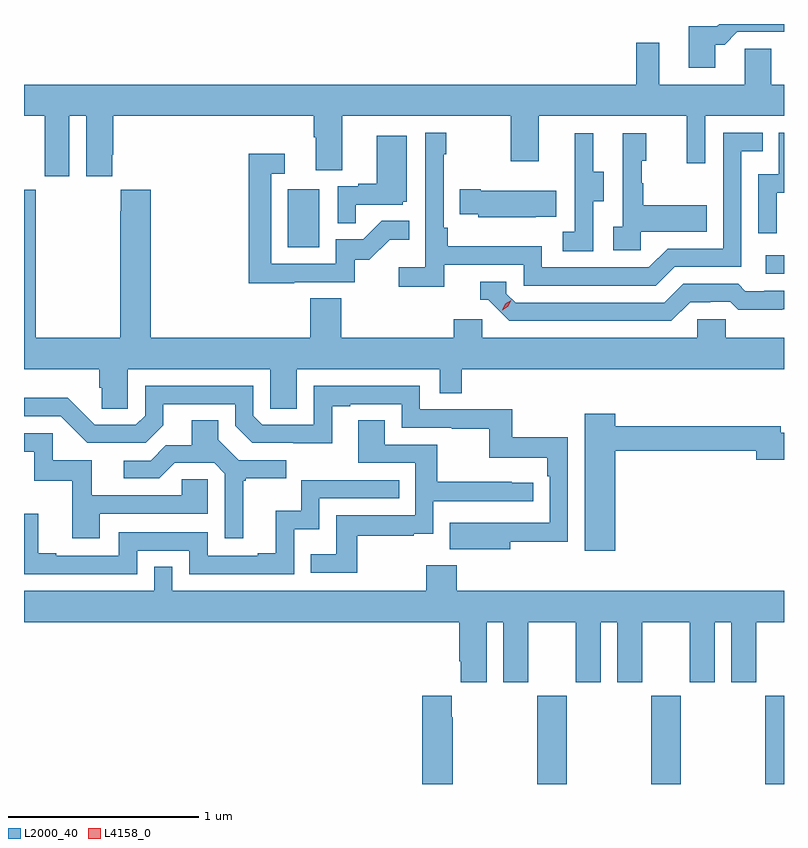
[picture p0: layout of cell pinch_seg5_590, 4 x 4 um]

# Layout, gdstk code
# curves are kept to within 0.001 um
import gdstk
lib = gdstk.Library(unit=1e-6, precision=1e-09)
def R(c, l, rs):  # rectangles x0, y0, x1, y1
    for r in rs: c.add(gdstk.rectangle(r[:2], r[2:], *l))
def P(c, l, *ps):  # polygons
    for p in ps: c.add(gdstk.Polygon(p, *l))
L2000_40 = (2000, 40)
L4158_0 = (4158, 0)

pinch_seg5_590 = lib.new_cell('pinch_seg5_590')
R(pinch_seg5_590, L2000_40, [(1119.457,861.236,1119.612,861.7), (1120.057,861.236,1120.212,861.7), (1120.657,861.236,1120.755,861.7), (1120.659,863.922,1120.755,864.018), (1118.144,864.06,1118.308,864.367)])
P(pinch_seg5_590, L2000_40, [(1120.393,865.127),(1120.442,865.127),(1120.509,865.194),(1120.755,865.194),(1120.755,865.236),(1120.413,865.236),(1120.402,865.225),(1120.253,865.225),(1120.253,865.005),(1120.393,865.005)],
  [(1116.994,864.752),(1117.082,864.752),(1117.082,864.435),(1117.219,864.435),(1117.219,864.547),(1117.226,864.547),(1117.226,864.752),(1118.279,864.752),(1118.279,864.64),(1118.291,864.64),(1118.291,864.466),(1118.431,864.466),(1118.431,864.752),(1119.316,864.752),(1119.316,864.513),(1119.463,864.513),(1119.463,864.752),(1120.244,864.752),(1120.244,864.504),(1120.341,864.504),(1120.341,864.752),(1120.755,864.752),(1120.755,864.916),(1120.687,864.916),(1120.687,865.106),(1120.548,865.106),(1120.548,864.916),(1120.099,864.916),(1120.099,865.138),(1119.978,865.138),(1119.978,864.916),(1116.755,864.916),(1116.755,864.752),(1116.863,864.752),(1116.863,864.435),(1116.994,864.435)],
  [(1118.966,863.97),(1119.384,863.97),(1119.384,863.859),(1120.081,863.859),(1120.18,863.958),(1120.53,863.958),(1120.53,864.567),(1120.643,864.567),(1120.643,864.663),(1120.434,864.663),(1120.434,864.054),(1120.143,864.054),(1120.044,863.955),(1119.48,863.955),(1119.48,864.067),(1118.984,864.067),(1118.984,864.163),(1118.964,864.163),(1118.964,864.551),(1118.977,864.551),(1118.977,864.664),(1118.868,864.664),(1118.868,863.956),(1118.727,863.956),(1118.727,863.854),(1118.966,863.854)],
  [(1120.716,864.347),(1120.755,864.347),(1120.755,864.663),(1120.728,864.663),(1120.728,864.444),(1120.62,864.444),(1120.62,864.135),(1120.716,864.135)],
  [(1119.75,864.304),(1119.805,864.304),(1119.805,864.459),(1119.751,864.459),(1119.751,864.661),(1119.653,864.661),(1119.653,864.447),(1119.654,864.447),(1119.654,864.143),(1119.591,864.143),(1119.591,864.04),(1119.75,864.04)],
  [(1120.002,864.143),(1120.349,864.143),(1120.349,864.283),(1120.015,864.283),(1120.015,864.398),(1120.005,864.398),(1120.005,864.516),(1120.03,864.516),(1120.03,864.661),(1119.906,864.661),(1119.906,864.17),(1119.855,864.17),(1119.855,864.045),(1120.002,864.045)],
  [(1118.501,864.285),(1118.748,864.285),(1118.748,864.3),(1118.77,864.3),(1118.77,864.649),(1118.612,864.649),(1118.612,864.394),(1118.513,864.394),(1118.513,864.381),(1118.406,864.381),(1118.406,864.187),(1118.501,864.187)],
  [(1118.177,863.877),(1118.496,863.877),(1118.496,863.994),(1118.572,863.994),(1118.679,864.101),(1118.783,864.101),(1118.783,864.2),(1118.639,864.2),(1118.541,864.102),(1118.397,864.102),(1118.397,863.973),(1118.055,863.973),(1118.055,864.447),(1118.128,864.447),(1118.128,864.553),(1117.939,864.553),(1117.939,863.872),(1118.177,863.872)],
  [(1119.449,864.221),(1119.557,864.221),(1119.557,864.358),(1119.16,864.358),(1119.16,864.366),(1119.049,864.366),(1119.049,864.236),(1119.147,864.236),(1119.147,864.218),(1119.449,864.218)],
  [(1117.302,863.42),(1118.052,863.42),(1118.052,863.212),(1118.191,863.212),(1118.191,863.42),(1118.943,863.42),(1118.943,863.293),(1119.059,863.293),(1119.059,863.42),(1120.755,863.42),(1120.755,863.584),(1120.449,863.584),(1120.449,863.682),(1120.299,863.682),(1120.299,863.584),(1119.168,863.584),(1119.168,863.682),(1119.017,863.682),(1119.017,863.584),(1118.426,863.584),(1118.426,863.792),(1118.261,863.792),(1118.261,863.584),(1117.421,863.584),(1117.421,864.364),(1117.265,864.364),(1117.265,864.251),(1117.261,864.251),(1117.261,863.584),(1116.816,863.584),(1116.816,864.364),(1116.755,864.364),(1116.755,863.42),(1117.151,863.42),(1117.151,863.322),(1117.165,863.322),(1117.165,863.212),(1117.302,863.212)],
  [(1120.261,863.772),(1120.368,863.772),(1120.368,863.775),(1120.471,863.775),(1120.513,863.733),(1120.746,863.733),(1120.746,863.735),(1120.755,863.735),(1120.755,863.832),(1120.651,863.832),(1120.651,863.829),(1120.552,863.829),(1120.513,863.868),(1120.224,863.868),(1120.125,863.769),(1119.342,863.769),(1119.294,863.817),(1119.294,863.88),(1119.155,863.88),(1119.155,863.784),(1119.198,863.784),(1119.309,863.673),(1120.162,863.673)],
  [(1119.313,862.51),(1119.618,862.51),(1119.618,863.062),(1119.325,863.062),(1119.325,863.208),(1118.838,863.208),(1118.838,863.331),(1118.28,863.331),(1118.28,863.127),(1118.01,863.127),(1117.962,863.175),(1117.962,863.331),(1117.392,863.331),(1117.392,863.175),(1117.344,863.127),(1117.128,863.127),(1116.986,863.269),(1116.755,863.269),(1116.755,863.172),(1116.948,863.172),(1117.089,863.031),(1117.395,863.031),(1117.489,863.125),(1117.489,863.235),(1117.866,863.235),(1117.866,863.121),(1117.956,863.031),(1118.377,863.03),(1118.377,863.223),(1118.473,863.223),(1118.473,863.235),(1118.742,863.235),(1118.742,863.112),(1119.007,863.112),(1119.007,863.107),(1119.204,863.107),(1119.204,862.952),(1119.509,862.952),(1119.509,862.856),(1119.522,862.856),(1119.522,862.611),(1118.995,862.612),(1118.995,862.472),(1119.313,862.472)],
  [(1119.868,862.99),(1120.61,862.99),(1120.61,862.943),(1120.755,862.943),(1120.755,863.085),(1120.738,863.085),(1120.738,863.119),(1119.868,863.119),(1119.868,863.185),(1119.707,863.185),(1119.707,862.464),(1119.868,862.464)],
  [(1117.909,862.833),(1117.921,862.833),(1117.921,862.844),(1118.134,862.844),(1118.134,862.941),(1117.884,862.941),(1117.777,863.048),(1117.777,863.15),(1117.637,863.15),(1117.637,863.018),(1117.502,863.018),(1117.422,862.938),(1117.281,862.938),(1117.281,862.845),(1117.468,862.845),(1117.549,862.926),(1117.755,862.926),(1117.812,862.869),(1117.812,862.53),(1117.909,862.53)],
  [(1118.509,862.542),(1118.807,862.542),(1118.807,862.553),(1118.91,862.553),(1118.91,862.725),(1119.436,862.725),(1119.436,862.821),(1119.323,862.821),(1119.323,862.826),(1118.93,862.826),(1118.93,863.022),(1118.653,863.022),(1118.653,863.15),(1118.513,863.15),(1118.513,862.926),(1118.814,862.926),(1118.814,862.65),(1118.398,862.65),(1118.398,862.444),(1118.263,862.444),(1118.263,862.347),(1118.509,862.347)],
  [(1117.153,862.659),(1117.722,862.659),(1117.722,862.839),(1117.585,862.839),(1117.585,862.755),(1117.111,862.755),(1117.111,862.941),(1116.906,862.941),(1116.906,863.082),(1116.755,863.082),(1116.755,862.986),(1116.81,862.986),(1116.81,862.833),(1117.009,862.833),(1117.009,862.53),(1117.153,862.53)],
  [(1117.35,862.464),(1117.626,862.464),(1117.626,862.341),(1118.178,862.341),(1118.178,862.577),(1118.31,862.577),(1118.31,862.74),(1118.729,862.74),(1118.729,862.836),(1118.214,862.836),(1118.214,862.675),(1118.081,862.675),(1118.081,862.45),(1117.985,862.45),(1117.985,862.437),(1117.722,862.437),(1117.722,862.56),(1117.254,862.56),(1117.254,862.437),(1116.925,862.437),(1116.925,862.45),(1116.83,862.45),(1116.83,862.658),(1116.755,862.658),(1116.755,862.341),(1117.35,862.341)],
  [(1118.872,862.387),(1118.872,862.252),(1117.536,862.252),(1117.536,862.379),(1117.44,862.379),(1117.44,862.252),(1116.755,862.252),(1116.755,862.088),(1119.047,862.088),(1119.047,861.883),(1119.053,861.883),(1119.053,861.771),(1119.19,861.771),(1119.19,862.088),(1119.278,862.088),(1119.278,861.771),(1119.409,861.771),(1119.409,862.088),(1119.659,862.088),(1119.659,861.771),(1119.79,861.771),(1119.79,862.088),(1119.878,862.088),(1119.878,861.771),(1120.009,861.771),(1120.009,862.088),(1120.259,862.088),(1120.259,861.771),(1120.39,861.771),(1120.39,862.088),(1120.478,862.088),(1120.478,861.771),(1120.609,861.771),(1120.609,862.088),(1120.755,862.088),(1120.755,862.252),(1119.032,862.252),(1119.032,862.387)],
  [(1119.012,861.587),(1119.007,861.587),(1119.007,861.7),(1118.852,861.7),(1118.852,861.236),(1119.012,861.236)])
P(pinch_seg5_590, L4158_0, [(1119.271,863.73),(1119.271,863.731),(1119.288,863.763),(1119.319,863.782),(1119.319,863.782),(1119.319,863.782),(1119.302,863.749),(1119.271,863.73)])

lib.write_gds('pinch_seg5_590.gds')
